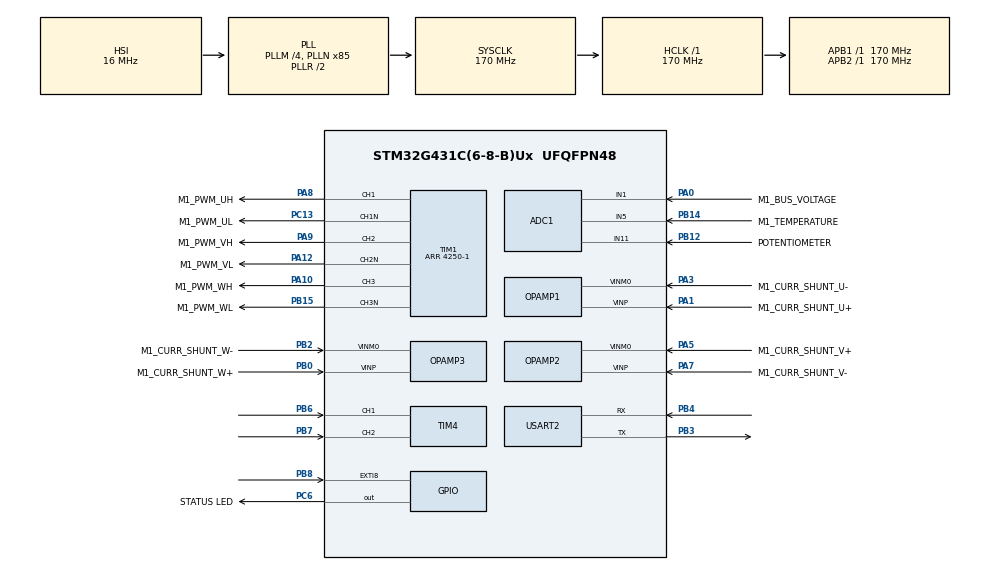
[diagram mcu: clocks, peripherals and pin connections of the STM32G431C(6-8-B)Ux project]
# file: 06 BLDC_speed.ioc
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ADC1.Channel-0\#ChannelRegularConversion=ADC_CHANNEL_1
ADC1.Channel-1\#ChannelRegularConversion=ADC_CHANNEL_5
ADC1.Channel-2\#ChannelRegularConversion=ADC_CHANNEL_VOPAMP1
ADC1.Channel-3\#ChannelRegularConversion=ADC_CHANNEL_11
ADC1.DMAContinuousRequests=ENABLE
ADC1.EOCSelection=ADC_EOC_SEQ_CONV
ADC1.ExternalTrigConv=ADC_EXTERNALTRIG_T1_TRGO2
ADC1.NbrOfConversion=4
ADC1.NbrOfConversionFlag=1
ADC1.OffsetNumber-0\#ChannelRegularConversion=ADC_OFFSET_NONE
ADC1.OffsetNumber-1\#ChannelRegularConversion=ADC_OFFSET_NONE
ADC1.OffsetNumber-2\#ChannelRegularConversion=ADC_OFFSET_NONE
ADC1.OffsetNumber-3\#ChannelRegularConversion=ADC_OFFSET_NONE
ADC1.Rank-0\#ChannelRegularConversion=1
ADC1.Rank-1\#ChannelRegularConversion=2
ADC1.Rank-2\#ChannelRegularConversion=3
ADC1.Rank-3\#ChannelRegularConversion=4
ADC1.SamplingTime-0\#ChannelRegularConversion=ADC_SAMPLETIME_47CYCLES_5
ADC1.SamplingTime-1\#ChannelRegularConversion=ADC_SAMPLETIME_47CYCLES_5
ADC1.SamplingTime-2\#ChannelRegularConversion=ADC_SAMPLETIME_12CYCLES_5
ADC1.SamplingTime-3\#ChannelRegularConversion=ADC_SAMPLETIME_47CYCLES_5
ADC1.master=1
ADC2.Channel-0\#ChannelRegularConversion=ADC_CHANNEL_VOPAMP2
ADC2.Channel-1\#ChannelRegularConversion=ADC_CHANNEL_VOPAMP3_ADC2
ADC2.DMAContinuousRequests=ENABLE
ADC2.EOCSelection=ADC_EOC_SEQ_CONV
ADC2.EnableAnalogWatchDog3=false
ADC2.ExternalTrigConv=ADC_EXTERNALTRIG_T1_TRGO2
ADC2.NbrOfConversion=2
ADC2.NbrOfConversionFlag=1
ADC2.OffsetNumber-0\#ChannelRegularConversion=ADC_OFFSET_NONE
ADC2.OffsetNumber-1\#ChannelRegularConversion=ADC_OFFSET_NONE
ADC2.Rank-0\#ChannelRegularConversion=1
ADC2.Rank-1\#ChannelRegularConversion=2
ADC2.SamplingTime-0\#ChannelRegularConversion=ADC_SAMPLETIME_12CYCLES_5
ADC2.SamplingTime-1\#ChannelRegularConversion=ADC_SAMPLETIME_12CYCLES_5
Dma.ADC1.2.Direction=DMA_PERIPH_TO_MEMORY
Dma.ADC1.2.EventEnable=DISABLE
Dma.ADC1.2.Instance=DMA1_Channel3
Dma.ADC1.2.MemDataAlignment=DMA_MDATAALIGN_HALFWORD
Dma.ADC1.2.MemInc=DMA_MINC_ENABLE
Dma.ADC1.2.Mode=DMA_CIRCULAR
Dma.ADC1.2.PeriphDataAlignment=DMA_PDATAALIGN_HALFWORD
Dma.ADC1.2.PeriphInc=DMA_PINC_DISABLE
Dma.ADC1.2.Polarity=HAL_DMAMUX_REQ_GEN_RISING
Dma.ADC1.2.Priority=DMA_PRIORITY_HIGH
Dma.ADC1.2.RequestNumber=1
Dma.ADC1.2.SignalID=NONE
Dma.ADC1.2.SyncEnable=DISABLE
Dma.ADC1.2.SyncPolarity=HAL_DMAMUX_SYNC_NO_EVENT
Dma.ADC1.2.SyncRequestNumber=1
Dma.ADC1.2.SyncSignalID=NONE
Dma.ADC2.3.Direction=DMA_PERIPH_TO_MEMORY
Dma.ADC2.3.EventEnable=DISABLE
Dma.ADC2.3.Instance=DMA1_Channel4
Dma.ADC2.3.MemDataAlignment=DMA_MDATAALIGN_HALFWORD
Dma.ADC2.3.MemInc=DMA_MINC_ENABLE
Dma.ADC2.3.Mode=DMA_CIRCULAR
Dma.ADC2.3.PeriphDataAlignment=DMA_PDATAALIGN_HALFWORD
Dma.ADC2.3.PeriphInc=DMA_PINC_DISABLE
Dma.ADC2.3.Polarity=HAL_DMAMUX_REQ_GEN_RISING
Dma.ADC2.3.Priority=DMA_PRIORITY_LOW
Dma.ADC2.3.RequestNumber=1
Dma.ADC2.3.SignalID=NONE
Dma.ADC2.3.SyncEnable=DISABLE
Dma.ADC2.3.SyncPolarity=HAL_DMAMUX_SYNC_NO_EVENT
Dma.ADC2.3.SyncRequestNumber=1
Dma.ADC2.3.SyncSignalID=NONE
Dma.Request0=USART2_RX
Dma.Request1=USART2_TX
Dma.Request2=ADC1
Dma.Request3=ADC2
Dma.USART2_RX.0.Direction=DMA_PERIPH_TO_MEMORY
Dma.USART2_RX.0.EventEnable=DISABLE
Dma.USART2_RX.0.Instance=DMA1_Channel1
Dma.USART2_RX.0.MemDataAlignment=DMA_MDATAALIGN_BYTE
Dma.USART2_RX.0.MemInc=DMA_MINC_ENABLE
Dma.USART2_RX.0.Mode=DMA_CIRCULAR
Dma.USART2_RX.0.PeriphDataAlignment=DMA_PDATAALIGN_BYTE
Dma.USART2_RX.0.PeriphInc=DMA_PINC_DISABLE
Dma.USART2_RX.0.Polarity=HAL_DMAMUX_REQ_GEN_RISING
Dma.USART2_RX.0.Priority=DMA_PRIORITY_LOW
Dma.USART2_RX.0.RequestNumber=1
Dma.USART2_RX.0.SignalID=NONE
Dma.USART2_RX.0.SyncEnable=DISABLE
Dma.USART2_RX.0.SyncPolarity=HAL_DMAMUX_SYNC_NO_EVENT
Dma.USART2_RX.0.SyncRequestNumber=1
Dma.USART2_RX.0.SyncSignalID=NONE
Dma.USART2_TX.1.Direction=DMA_MEMORY_TO_PERIPH
Dma.USART2_TX.1.EventEnable=DISABLE
Dma.USART2_TX.1.Instance=DMA1_Channel2
Dma.USART2_TX.1.MemDataAlignment=DMA_MDATAALIGN_BYTE
Dma.USART2_TX.1.MemInc=DMA_MINC_ENABLE
Dma.USART2_TX.1.Mode=DMA_NORMAL
Dma.USART2_TX.1.PeriphDataAlignment=DMA_PDATAALIGN_BYTE
Dma.USART2_TX.1.PeriphInc=DMA_PINC_DISABLE
Dma.USART2_TX.1.Polarity=HAL_DMAMUX_REQ_GEN_RISING
Dma.USART2_TX.1.Priority=DMA_PRIORITY_LOW
Dma.USART2_TX.1.RequestNumber=1
Dma.USART2_TX.1.SignalID=NONE
Dma.USART2_TX.1.SyncEnable=DISABLE
Dma.USART2_TX.1.SyncPolarity=HAL_DMAMUX_SYNC_NO_EVENT
Dma.USART2_TX.1.SyncRequestNumber=1
Dma.USART2_TX.1.SyncSignalID=NONE
Mcu.Family=STM32G4
Mcu.Name=STM32G431C(6-8-B)Ux
Mcu.Package=UFQFPN48
NVIC.ADC1_2_IRQn=true\:0\:0\:false\:false\:true\:true\:true\:true
NVIC.DMA1_Channel1_IRQn=true\:0\:0\:false\:false\:true\:false\:true\:true
NVIC.DMA1_Channel2_IRQn=true\:0\:0\:false\:false\:true\:false\:true\:true
NVIC.DMA1_Channel3_IRQn=true\:0\:0\:false\:false\:true\:false\:true\:true
NVIC.DMA1_Channel4_IRQn=true\:0\:0\:false\:false\:true\:false\:true\:true
NVIC.EXTI9_5_IRQn=true\:0\:0\:false\:false\:true\:true\:true\:true
NVIC.PriorityGroup=NVIC_PRIORITYGROUP_4
NVIC.TIM1_UP_TIM16_IRQn=true\:0\:0\:false\:false\:true\:true\:true\:true
NVIC.TIM4_IRQn=true\:0\:0\:false\:false\:true\:true\:true\:true
NVIC.USART2_IRQn=true\:0\:0\:false\:false\:true\:true\:true\:true
OPAMP1.PgaGain=OPAMP_PGA_GAIN_16_OR_MINUS_15
OPAMP2.PgaGain=OPAMP_PGA_GAIN_16_OR_MINUS_15
OPAMP3.PgaGain=OPAMP_PGA_GAIN_16_OR_MINUS_15
PA0.GPIO_Label=M1_BUS_VOLTAGE
PA0.Mode=IN1-Single-Ended
PA0.Signal=ADC1_IN1
PA1.GPIO_Label=M1_CURR_SHUNT_U+
PA1.Mode=PGA Internally connected_IO0_BIAS
PA1.Signal=OPAMP1_VINP
PA10.GPIO_Label=M1_PWM_WH
PA10.Signal=S_TIM1_CH3
PA12.GPIO_Label=M1_PWM_VL
PA12.Mode=PWM Generation2 CH2 CH2N
PA12.Signal=TIM1_CH2N
PA3.GPIO_Label=M1_CURR_SHUNT_U-
PA3.Mode=PGA Internally connected_IO0_BIAS
PA3.Signal=OPAMP1_VINM0
PA5.GPIO_Label=M1_CURR_SHUNT_V+
PA5.Mode=PGA Internally connected_IO0_BIAS
PA5.Signal=OPAMP2_VINM0
PA7.GPIO_Label=M1_CURR_SHUNT_V-
PA7.Mode=PGA Internally connected_IO0_BIAS
PA7.Signal=OPAMP2_VINP
PA8.GPIO_Label=M1_PWM_UH
PA8.Signal=S_TIM1_CH1
PA9.GPIO_Label=M1_PWM_VH
PA9.Signal=S_TIM1_CH2
PB0.GPIO_Label=M1_CURR_SHUNT_W+
PB0.Mode=PGA Internally connected_IO0_BIAS
PB0.Signal=OPAMP3_VINP
PB12.GPIO_Label=POTENTIOMETER
PB12.Mode=IN11-Single-Ended
PB12.Signal=ADC1_IN11
PB14.GPIO_Label=M1_TEMPERATURE
PB14.Mode=IN5-Single-Ended
PB14.Signal=ADC1_IN5
PB15.GPIO_Label=M1_PWM_WL
PB15.Mode=PWM Generation3 CH3 CH3N
PB15.Signal=TIM1_CH3N
PB2.GPIO_Label=M1_CURR_SHUNT_W-
PB2.Mode=PGA Internally connected_IO0_BIAS
PB2.Signal=OPAMP3_VINM0
PB3.Mode=Asynchronous
PB3.Signal=USART2_TX
PB4.Mode=Asynchronous
PB4.Signal=USART2_RX
PB6.Signal=S_TIM4_CH1
PB7.Signal=S_TIM4_CH2
PB8-BOOT0.GPIO_PuPd=GPIO_PULLUP
PB8-BOOT0.Signal=GPXTI8
PC13.GPIO_Label=M1_PWM_UL
PC13.Mode=PWM Generation1 CH1 CH1N
PC13.Signal=TIM1_CH1N
PC6.GPIO_Label=STATUS LED
PC6.Signal=GPIO_Output
PF0-OSC_IN.Mode=HSE-External-Oscillator
PF0-OSC_IN.Signal=RCC_OSC_IN
PF1-OSC_OUT.Mode=HSE-External-Oscillator
PF1-OSC_OUT.Signal=RCC_OSC_OUT
ProjectManager.HeapSize=0x200
ProjectManager.StackSize=0x400
ProjectManager.TargetToolchain=STM32CubeIDE
RCC.ADC12Freq_Value=170000000
RCC.AHBFreq_Value=170000000
RCC.APB1Freq_Value=170000000
RCC.APB1TimFreq_Value=170000000
RCC.APB2Freq_Value=170000000
RCC.APB2TimFreq_Value=170000000
RCC.CortexFreq_Value=170000000
RCC.EXTERNAL_CLOCK_VALUE=12288000
RCC.HCLKFreq_Value=170000000
RCC.HSE_VALUE=8000000
RCC.HSI48_VALUE=48000000
RCC.HSI_VALUE=16000000
RCC.LSE_VALUE=32768
RCC.PLLM=RCC_PLLM_DIV4
RCC.PLLN=85
RCC.SYSCLKFreq_VALUE=170000000
RCC.SYSCLKSource=RCC_SYSCLKSOURCE_PLLCLK
RCC.USBFreq_Value=170000000
RCC.VCOOutputFreq_Value=340000000
SH.S_TIM1_CH1.0=TIM1_CH1,PWM Generation1 CH1 CH1N
SH.S_TIM1_CH2.0=TIM1_CH2,PWM Generation2 CH2 CH2N
SH.S_TIM1_CH3.0=TIM1_CH3,PWM Generation3 CH3 CH3N
SH.S_TIM4_CH1.0=TIM4_CH1,Encoder_Interface
SH.S_TIM4_CH2.0=TIM4_CH2,Encoder_Interface
TIM1.Channel-PWM\ Generation1\ CH1\ CH1N=TIM_CHANNEL_1
TIM1.Channel-PWM\ Generation2\ CH2\ CH2N=TIM_CHANNEL_2
TIM1.Channel-PWM\ Generation3\ CH3\ CH3N=TIM_CHANNEL_3
TIM1.Channel-PWM\ Generation4\ No\ Output=TIM_CHANNEL_4
TIM1.CounterMode=TIM_COUNTERMODE_CENTERALIGNED3
TIM1.DeadTime=100
TIM1.PeriodNoDither=4250-1
TIM1.PulseNoDither_1=(4250-1)*3/4
TIM1.PulseNoDither_2=(4250-1)*2/4
TIM1.PulseNoDither_3=(4250-1)*1/4
TIM1.PulseNoDither_4=(4250-1)*9/10
TIM1.TIM_MasterOutputTrigger=TIM_TRGO_RESET
TIM1.TIM_MasterOutputTrigger2=TIM_TRGO2_OC4REF
TIM4.EncoderMode=TIM_ENCODERMODE_TI12
TIM4.IC1Filter=3
TIM4.SMS_Preload_Activation=ENABLE
USART2.VirtualMode-Asynchronous=VM_ASYNC
VP_ADC1_OPAMP_INTERNAL1.Mode=IN-OPAMP1
VP_ADC2_OPAMP_INTERNAL2.Mode=IN-OPAMP2
VP_ADC2_OPAMP_INTERNAL3.Mode=IN-OPAMP3
VP_CORDIC_VS_CORDIC.Mode=CORDIC_Activate
VP_SYS_VS_DBSignals.Mode=DisableDeadBatterySignals
VP_TIM1_VS_ClockSourceINT.Mode=Internal
VP_TIM1_VS_no_output4.Mode=PWM Generation4 No Output
board=custom

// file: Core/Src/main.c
/* USER CODE BEGIN Header */
/**
  ******************************************************************************
  * @file           : main.c
  * @brief          : Main program body
  ******************************************************************************
  * @attention
  *
  * Copyright (c) 2025 STMicroelectronics.
  * All rights reserved.
  *
  * This software is licensed under terms that can be found in the LICENSE file
  * in the root directory of this software component.
  * If no LICENSE file comes with this software, it is provided AS-IS.
  *
  ******************************************************************************
  */
/* USER CODE END Header */
#include "main.h"

/* USER CODE BEGIN Includes */
#include <stdio.h>

#include "foc.h"
#include "sensor.h"
#include "serial.h"
//#include "uart_dma.h"
/* USER CODE END Includes */

ADC_HandleTypeDef hadc1;
ADC_HandleTypeDef hadc2;
DMA_HandleTypeDef hdma_adc1;
DMA_HandleTypeDef hdma_adc2;

CORDIC_HandleTypeDef hcordic;

OPAMP_HandleTypeDef hopamp1;
OPAMP_HandleTypeDef hopamp2;
OPAMP_HandleTypeDef hopamp3;

TIM_HandleTypeDef htim1;
TIM_HandleTypeDef htim4;

UART_HandleTypeDef huart2;
DMA_HandleTypeDef hdma_usart2_rx;
DMA_HandleTypeDef hdma_usart2_tx;

void SystemClock_Config(void);
static void MX_GPIO_Init(void);
static void MX_DMA_Init(void);
static void MX_USART2_UART_Init(void);
static void MX_TIM1_Init(void);
static void MX_ADC1_Init(void);
static void MX_OPAMP1_Init(void);
static void MX_OPAMP2_Init(void);
static void MX_OPAMP3_Init(void);
static void MX_ADC2_Init(void);
static void MX_TIM4_Init(void);
static void MX_CORDIC_Init(void);

/* USER CODE BEGIN 0 */
// variables for system scheduler
volatile uint32_t ms_counter = 0;
volatile uint32_t tick_1ms = 0;
volatile uint32_t tick_10ms = 0;
volatile uint32_t tick_100ms = 0;
volatile uint32_t tick_1s = 0;

//void HAL_SYSTICK_Callback(void)
void HAL_TIM_PeriodElapsedCallback(TIM_HandleTypeDef *htim)
{
	if (htim->Instance == TIM4)
	{

#if 0
		// Set 1ms tick flag
		tick_1ms = 1;
		ms_counter++;

	// Set 20ms tick flag
		if (ms_counter % 50 == 0) {

			tick_10ms = 1;
		}

		// Set 100ms tick flag
		if (ms_counter % 100 == 0) {

			tick_100ms = 1;
		}

		// Set 1s tick flag
		if (ms_counter % 1000 == 0) {
//			printf("%.3f \r\n", foc.mech_rad);
//			UART_DMA_Printf("%.1fV, %.1f℃, %.3f, %.1f    ", Vbus, tempC, foc.mech_rad, foc.iq_ref);
//			UART_DMA_Printf("%.3fA, %.3fA, %.3fA   \r\n", PhaseU_A, PhaseV_A, PhaseW_A);

			tick_1s = 1;
		}

		// Reset counter after 1 second to avoid overflow
		if (ms_counter >= 1000) {
			ms_counter = 0;
		}
#endif
	}
}
/* USER CODE END 0 */

int main(void)
{

  /* MCU Configuration--------------------------------------------------------*/

  /* Reset of all peripherals, Initializes the Flash interface and the Systick. */
  HAL_Init();

  /* Configure the system clock */
  SystemClock_Config();

  /* Initialize all configured peripherals */
  MX_GPIO_Init();
  MX_DMA_Init();
  MX_USART2_UART_Init();
  MX_TIM1_Init();
  MX_ADC1_Init();
  MX_OPAMP1_Init();
  MX_OPAMP2_Init();
  MX_OPAMP3_Init();
  MX_ADC2_Init();
  MX_TIM4_Init();
  MX_CORDIC_Init();
  /* USER CODE BEGIN 2 */

  /* Control init */
  FOC_Init();			// must be before PWM start. Because starting PWM enables the interrupt (FOC_PWM_ISR) immediately, and that ISR uses foc variables that must already be initialized.
  	  	  	  	  	  // FOC_Init(); is located after HAL_TIM_Base_Start_IT(&htim1);, iq_ref or maybe all paramters in the FOC_Init() are initialized to zero.

  CORDIC_Config();

  /* 🔥 START TIMERS LAST */
  HAL_TIM_PWM_Start(&htim1, TIM_CHANNEL_1);
  HAL_TIMEx_PWMN_Start(&htim1, TIM_CHANNEL_1);
  HAL_TIM_PWM_Start(&htim1, TIM_CHANNEL_2);
  HAL_TIMEx_PWMN_Start(&htim1, TIM_CHANNEL_2);
  HAL_TIM_PWM_Start(&htim1, TIM_CHANNEL_3);
  HAL_TIMEx_PWMN_Start(&htim1, TIM_CHANNEL_3);

  HAL_TIM_Base_Start_IT(&htim1);				// for TIM15, TIM16
  HAL_TIM_Encoder_Start_IT(&htim4, TIM_CHANNEL_ALL);

  // Start everything first (ADC, OPAMP, etc.)
  HAL_OPAMP_Start(&hopamp1);
  HAL_OPAMP_Start(&hopamp2);
  HAL_OPAMP_Start(&hopamp3);

  /* Start ADC */
  HAL_ADC_Start_DMA(&hadc1, (uint32_t *)ADC1_VAL, 4);
  HAL_ADC_Start_DMA(&hadc2, (uint32_t *)ADC2_VAL, 2);

  Calibrate_All_Offsets();

//  AS5600_Init();

  UART_DMA_Init();
  printf("UART ready\n");

  /* USER CODE END 2 */

  /* Infinite loop */
  /* USER CODE BEGIN WHILE */
  while (1)
  {
	// Toggle the PC6 LED pin
//	HAL_GPIO_TogglePin(GPIOC, GPIO_PIN_6);

	// Delay for 1 seconds
//	HAL_Delay(1000);

    /* USER CODE END WHILE */

  }
}

void SystemClock_Config(void)
{
  RCC_OscInitTypeDef RCC_OscInitStruct = {0};
  RCC_ClkInitTypeDef RCC_ClkInitStruct = {0};

  /** Configure the main internal regulator output voltage
  */
  HAL_PWREx_ControlVoltageScaling(PWR_REGULATOR_VOLTAGE_SCALE1_BOOST);

  /** Initializes the RCC Oscillators according to the specified parameters
  * in the RCC_OscInitTypeDef structure.
  */
  RCC_OscInitStruct.OscillatorType = RCC_OSCILLATORTYPE_HSI;
  RCC_OscInitStruct.HSIState = RCC_HSI_ON;
  RCC_OscInitStruct.HSICalibrationValue = RCC_HSICALIBRATION_DEFAULT;
  RCC_OscInitStruct.PLL.PLLState = RCC_PLL_ON;
  RCC_OscInitStruct.PLL.PLLSource = RCC_PLLSOURCE_HSI;
  RCC_OscInitStruct.PLL.PLLM = RCC_PLLM_DIV4;
  RCC_OscInitStruct.PLL.PLLN = 85;
  RCC_OscInitStruct.PLL.PLLP = RCC_PLLP_DIV2;
  RCC_OscInitStruct.PLL.PLLQ = RCC_PLLQ_DIV2;
  RCC_OscInitStruct.PLL.PLLR = RCC_PLLR_DIV2;
  if (HAL_RCC_OscConfig(&RCC_OscInitStruct) != HAL_OK)
  {
    Error_Handler();
  }

  /** Initializes the CPU, AHB and APB buses clocks
  */
  RCC_ClkInitStruct.ClockType = RCC_CLOCKTYPE_HCLK|RCC_CLOCKTYPE_SYSCLK
                              |RCC_CLOCKTYPE_PCLK1|RCC_CLOCKTYPE_PCLK2;
  RCC_ClkInitStruct.SYSCLKSource = RCC_SYSCLKSOURCE_PLLCLK;
  RCC_ClkInitStruct.AHBCLKDivider = RCC_SYSCLK_DIV1;
  RCC_ClkInitStruct.APB1CLKDivider = RCC_HCLK_DIV1;
  RCC_ClkInitStruct.APB2CLKDivider = RCC_HCLK_DIV1;

  if (HAL_RCC_ClockConfig(&RCC_ClkInitStruct, FLASH_LATENCY_4) != HAL_OK)
  {
    Error_Handler();
  }
}

static void MX_ADC1_Init(void)
{

  ADC_MultiModeTypeDef multimode = {0};
  ADC_ChannelConfTypeDef sConfig = {0};

  /** Common config
  */
  hadc1.Instance = ADC1;
  hadc1.Init.ClockPrescaler = ADC_CLOCK_SYNC_PCLK_DIV4;
  hadc1.Init.Resolution = ADC_RESOLUTION_12B;
  hadc1.Init.DataAlign = ADC_DATAALIGN_RIGHT;
  hadc1.Init.GainCompensation = 0;
  hadc1.Init.ScanConvMode = ADC_SCAN_ENABLE;
  hadc1.Init.EOCSelection = ADC_EOC_SEQ_CONV;
  hadc1.Init.LowPowerAutoWait = DISABLE;
  hadc1.Init.ContinuousConvMode = DISABLE;
  hadc1.Init.NbrOfConversion = 4;
  hadc1.Init.DiscontinuousConvMode = DISABLE;
  hadc1.Init.ExternalTrigConv = ADC_EXTERNALTRIG_T1_TRGO2;
  hadc1.Init.ExternalTrigConvEdge = ADC_EXTERNALTRIGCONVEDGE_RISING;
  hadc1.Init.DMAContinuousRequests = ENABLE;
  hadc1.Init.Overrun = ADC_OVR_DATA_PRESERVED;
  hadc1.Init.OversamplingMode = DISABLE;
  if (HAL_ADC_Init(&hadc1) != HAL_OK)
  {
    Error_Handler();
  }

  /** Configure the ADC multi-mode
  */
  multimode.Mode = ADC_MODE_INDEPENDENT;
  if (HAL_ADCEx_MultiModeConfigChannel(&hadc1, &multimode) != HAL_OK)
  {
    Error_Handler();
  }

  /** Configure Regular Channel
  */
  sConfig.Channel = ADC_CHANNEL_1;
  sConfig.Rank = ADC_REGULAR_RANK_1;
  sConfig.SamplingTime = ADC_SAMPLETIME_47CYCLES_5;
  sConfig.SingleDiff = ADC_SINGLE_ENDED;
  sConfig.OffsetNumber = ADC_OFFSET_NONE;
  sConfig.Offset = 0;
  if (HAL_ADC_ConfigChannel(&hadc1, &sConfig) != HAL_OK)
  {
    Error_Handler();
  }

  /** Configure Regular Channel
  */
  sConfig.Channel = ADC_CHANNEL_5;
  sConfig.Rank = ADC_REGULAR_RANK_2;
  if (HAL_ADC_ConfigChannel(&hadc1, &sConfig) != HAL_OK)
  {
    Error_Handler();
  }

  /** Configure Regular Channel
  */
  sConfig.Channel = ADC_CHANNEL_VOPAMP1;
  sConfig.Rank = ADC_REGULAR_RANK_3;
  sConfig.SamplingTime = ADC_SAMPLETIME_12CYCLES_5;
  if (HAL_ADC_ConfigChannel(&hadc1, &sConfig) != HAL_OK)
  {
    Error_Handler();
  }

  /** Configure Regular Channel
  */
  sConfig.Channel = ADC_CHANNEL_11;
  sConfig.Rank = ADC_REGULAR_RANK_4;
  sConfig.SamplingTime = ADC_SAMPLETIME_47CYCLES_5;
  if (HAL_ADC_ConfigChannel(&hadc1, &sConfig) != HAL_OK)
  {
    Error_Handler();
  }

}

static void MX_ADC2_Init(void)
{

  ADC_ChannelConfTypeDef sConfig = {0};

  /** Common config
  */
  hadc2.Instance = ADC2;
  hadc2.Init.ClockPrescaler = ADC_CLOCK_SYNC_PCLK_DIV4;
  hadc2.Init.Resolution = ADC_RESOLUTION_12B;
  hadc2.Init.DataAlign = ADC_DATAALIGN_RIGHT;
  hadc2.Init.GainCompensation = 0;
  hadc2.Init.ScanConvMode = ADC_SCAN_ENABLE;
  hadc2.Init.EOCSelection = ADC_EOC_SEQ_CONV;
  hadc2.Init.LowPowerAutoWait = DISABLE;
  hadc2.Init.ContinuousConvMode = DISABLE;
  hadc2.Init.NbrOfConversion = 2;
  hadc2.Init.DiscontinuousConvMode = DISABLE;
  hadc2.Init.ExternalTrigConv = ADC_EXTERNALTRIG_T1_TRGO2;
  hadc2.Init.ExternalTrigConvEdge = ADC_EXTERNALTRIGCONVEDGE_RISING;
  hadc2.Init.DMAContinuousRequests = ENABLE;
  hadc2.Init.Overrun = ADC_OVR_DATA_PRESERVED;
  hadc2.Init.OversamplingMode = DISABLE;
  if (HAL_ADC_Init(&hadc2) != HAL_OK)
  {
    Error_Handler();
  }

  /** Configure Regular Channel
  */
  sConfig.Channel = ADC_CHANNEL_VOPAMP2;
  sConfig.Rank = ADC_REGULAR_RANK_1;
  sConfig.SamplingTime = ADC_SAMPLETIME_12CYCLES_5;
  sConfig.SingleDiff = ADC_SINGLE_ENDED;
  sConfig.OffsetNumber = ADC_OFFSET_NONE;
  sConfig.Offset = 0;
  if (HAL_ADC_ConfigChannel(&hadc2, &sConfig) != HAL_OK)
  {
    Error_Handler();
  }

  /** Configure Regular Channel
  */
  sConfig.Channel = ADC_CHANNEL_VOPAMP3_ADC2;
  sConfig.Rank = ADC_REGULAR_RANK_2;
  if (HAL_ADC_ConfigChannel(&hadc2, &sConfig) != HAL_OK)
  {
    Error_Handler();
  }

}

static void MX_CORDIC_Init(void)
{

  hcordic.Instance = CORDIC;
  if (HAL_CORDIC_Init(&hcordic) != HAL_OK)
  {
    Error_Handler();
  }

}

static void MX_OPAMP1_Init(void)
{

  hopamp1.Instance = OPAMP1;
  hopamp1.Init.PowerMode = OPAMP_POWERMODE_NORMALSPEED;
  hopamp1.Init.Mode = OPAMP_PGA_MODE;
  hopamp1.Init.NonInvertingInput = OPAMP_NONINVERTINGINPUT_IO0;
  hopamp1.Init.InternalOutput = ENABLE;
  hopamp1.Init.TimerControlledMuxmode = OPAMP_TIMERCONTROLLEDMUXMODE_DISABLE;
  hopamp1.Init.PgaConnect = OPAMP_PGA_CONNECT_INVERTINGINPUT_IO0_BIAS;
  hopamp1.Init.PgaGain = OPAMP_PGA_GAIN_16_OR_MINUS_15;
  hopamp1.Init.UserTrimming = OPAMP_TRIMMING_FACTORY;
  if (HAL_OPAMP_Init(&hopamp1) != HAL_OK)
  {
    Error_Handler();
  }

}

static void MX_OPAMP2_Init(void)
{

  hopamp2.Instance = OPAMP2;
  hopamp2.Init.PowerMode = OPAMP_POWERMODE_NORMALSPEED;
  hopamp2.Init.Mode = OPAMP_PGA_MODE;
  hopamp2.Init.NonInvertingInput = OPAMP_NONINVERTINGINPUT_IO0;
  hopamp2.Init.InternalOutput = ENABLE;
  hopamp2.Init.TimerControlledMuxmode = OPAMP_TIMERCONTROLLEDMUXMODE_DISABLE;
  hopamp2.Init.PgaConnect = OPAMP_PGA_CONNECT_INVERTINGINPUT_IO0_BIAS;
  hopamp2.Init.PgaGain = OPAMP_PGA_GAIN_16_OR_MINUS_15;
  hopamp2.Init.UserTrimming = OPAMP_TRIMMING_FACTORY;
  if (HAL_OPAMP_Init(&hopamp2) != HAL_OK)
  {
    Error_Handler();
  }

}

static void MX_OPAMP3_Init(void)
{

  hopamp3.Instance = OPAMP3;
  hopamp3.Init.PowerMode = OPAMP_POWERMODE_NORMALSPEED;
  hopamp3.Init.Mode = OPAMP_PGA_MODE;
  hopamp3.Init.NonInvertingInput = OPAMP_NONINVERTINGINPUT_IO0;
  hopamp3.Init.InternalOutput = ENABLE;
  hopamp3.Init.TimerControlledMuxmode = OPAMP_TIMERCONTROLLEDMUXMODE_DISABLE;
  hopamp3.Init.PgaConnect = OPAMP_PGA_CONNECT_INVERTINGINPUT_IO0_BIAS;
  hopamp3.Init.PgaGain = OPAMP_PGA_GAIN_16_OR_MINUS_15;
  hopamp3.Init.UserTrimming = OPAMP_TRIMMING_FACTORY;
  if (HAL_OPAMP_Init(&hopamp3) != HAL_OK)
  {
    Error_Handler();
  }

}

static void MX_TIM1_Init(void)
{

  TIM_ClockConfigTypeDef sClockSourceConfig = {0};
  TIM_MasterConfigTypeDef sMasterConfig = {0};
  TIM_OC_InitTypeDef sConfigOC = {0};
  TIM_BreakDeadTimeConfigTypeDef sBreakDeadTimeConfig = {0};

  htim1.Instance = TIM1;
  htim1.Init.Prescaler = 0;
  htim1.Init.CounterMode = TIM_COUNTERMODE_CENTERALIGNED3;
  htim1.Init.Period = 4249;
  htim1.Init.ClockDivision = TIM_CLOCKDIVISION_DIV1;
  htim1.Init.RepetitionCounter = 0;
  htim1.Init.AutoReloadPreload = TIM_AUTORELOAD_PRELOAD_DISABLE;
  if (HAL_TIM_Base_Init(&htim1) != HAL_OK)
  {
    Error_Handler();
  }
  sClockSourceConfig.ClockSource = TIM_CLOCKSOURCE_INTERNAL;
  if (HAL_TIM_ConfigClockSource(&htim1, &sClockSourceConfig) != HAL_OK)
  {
    Error_Handler();
  }
  if (HAL_TIM_PWM_Init(&htim1) != HAL_OK)
  {
    Error_Handler();
  }
  sMasterConfig.MasterOutputTrigger = TIM_TRGO_RESET;
  sMasterConfig.MasterOutputTrigger2 = TIM_TRGO2_OC4REF;
  sMasterConfig.MasterSlaveMode = TIM_MASTERSLAVEMODE_DISABLE;
  if (HAL_TIMEx_MasterConfigSynchronization(&htim1, &sMasterConfig) != HAL_OK)
  {
    Error_Handler();
  }
  sConfigOC.OCMode = TIM_OCMODE_PWM1;
  sConfigOC.Pulse = 3186;
  sConfigOC.OCPolarity = TIM_OCPOLARITY_HIGH;
  sConfigOC.OCNPolarity = TIM_OCNPOLARITY_HIGH;
  sConfigOC.OCFastMode = TIM_OCFAST_DISABLE;
  sConfigOC.OCIdleState = TIM_OCIDLESTATE_RESET;
  sConfigOC.OCNIdleState = TIM_OCNIDLESTATE_RESET;
  if (HAL_TIM_PWM_ConfigChannel(&htim1, &sConfigOC, TIM_CHANNEL_1) != HAL_OK)
  {
    Error_Handler();
  }
  sConfigOC.Pulse = 2124;
  if (HAL_TIM_PWM_ConfigChannel(&htim1, &sConfigOC, TIM_CHANNEL_2) != HAL_OK)
  {
    Error_Handler();
  }
  sConfigOC.Pulse = 1062;
  if (HAL_TIM_PWM_ConfigChannel(&htim1, &sConfigOC, TIM_CHANNEL_3) != HAL_OK)
  {
    Error_Handler();
  }
  sConfigOC.Pulse = 3824;
  if (HAL_TIM_PWM_ConfigChannel(&htim1, &sConfigOC, TIM_CHANNEL_4) != HAL_OK)
  {
    Error_Handler();
  }
  sBreakDeadTimeConfig.OffStateRunMode = TIM_OSSR_DISABLE;
  sBreakDeadTimeConfig.OffStateIDLEMode = TIM_OSSI_DISABLE;
  sBreakDeadTimeConfig.LockLevel = TIM_LOCKLEVEL_OFF;
  sBreakDeadTimeConfig.DeadTime = 100;
  sBreakDeadTimeConfig.BreakState = TIM_BREAK_DISABLE;
  sBreakDeadTimeConfig.BreakPolarity = TIM_BREAKPOLARITY_HIGH;
  sBreakDeadTimeConfig.BreakFilter = 0;
  sBreakDeadTimeConfig.BreakAFMode = TIM_BREAK_AFMODE_INPUT;
  sBreakDeadTimeConfig.Break2State = TIM_BREAK2_DISABLE;
  sBreakDeadTimeConfig.Break2Polarity = TIM_BREAK2POLARITY_HIGH;
  sBreakDeadTimeConfig.Break2Filter = 0;
  sBreakDeadTimeConfig.Break2AFMode = TIM_BREAK_AFMODE_INPUT;
  sBreakDeadTimeConfig.AutomaticOutput = TIM_AUTOMATICOUTPUT_DISABLE;
  if (HAL_TIMEx_ConfigBreakDeadTime(&htim1, &sBreakDeadTimeConfig) != HAL_OK)
  {
    Error_Handler();
  }
  HAL_TIM_MspPostInit(&htim1);

}

static void MX_TIM4_Init(void)
{

  TIM_Encoder_InitTypeDef sConfig = {0};
  TIM_MasterConfigTypeDef sMasterConfig = {0};

  htim4.Instance = TIM4;
  htim4.Init.Prescaler = 0;
  htim4.Init.CounterMode = TIM_COUNTERMODE_UP;
  htim4.Init.Period = 65535;
  htim4.Init.ClockDivision = TIM_CLOCKDIVISION_DIV1;
  htim4.Init.AutoReloadPreload = TIM_AUTORELOAD_PRELOAD_DISABLE;
  sConfig.EncoderMode = TIM_ENCODERMODE_TI12;
  sConfig.IC1Polarity = TIM_ICPOLARITY_RISING;
  sConfig.IC1Selection = TIM_ICSELECTION_DIRECTTI;
  sConfig.IC1Prescaler = TIM_ICPSC_DIV1;
  sConfig.IC1Filter = 3;
  sConfig.IC2Polarity = TIM_ICPOLARITY_RISING;
  sConfig.IC2Selection = TIM_ICSELECTION_DIRECTTI;
  sConfig.IC2Prescaler = TIM_ICPSC_DIV1;
  sConfig.IC2Filter = 0;
  if (HAL_TIM_Encoder_Init(&htim4, &sConfig) != HAL_OK)
  {
    Error_Handler();
  }
  HAL_TIMEx_EnableSlaveModePreload(&htim4);
  sMasterConfig.MasterOutputTrigger = TIM_TRGO_RESET;
  sMasterConfig.MasterSlaveMode = TIM_MASTERSLAVEMODE_DISABLE;
  if (HAL_TIMEx_MasterConfigSynchronization(&htim4, &sMasterConfig) != HAL_OK)
  {
    Error_Handler();
  }

}

static void MX_USART2_UART_Init(void)
{

  huart2.Instance = USART2;
  huart2.Init.BaudRate = 115200;
  huart2.Init.WordLength = UART_WORDLENGTH_8B;
  huart2.Init.StopBits = UART_STOPBITS_1;
  huart2.Init.Parity = UART_PARITY_NONE;
  huart2.Init.Mode = UART_MODE_TX_RX;
  huart2.Init.HwFlowCtl = UART_HWCONTROL_NONE;
  huart2.Init.OverSampling = UART_OVERSAMPLING_16;
  huart2.Init.OneBitSampling = UART_ONE_BIT_SAMPLE_DISABLE;
  huart2.Init.ClockPrescaler = UART_PRESCALER_DIV1;
  huart2.AdvancedInit.AdvFeatureInit = UART_ADVFEATURE_NO_INIT;
  if (HAL_UART_Init(&huart2) != HAL_OK)
  {
    Error_Handler();
  }
  if (HAL_UARTEx_SetTxFifoThreshold(&huart2, UART_TXFIFO_THRESHOLD_1_8) != HAL_OK)
  {
    Error_Handler();
  }
  if (HAL_UARTEx_SetRxFifoThreshold(&huart2, UART_RXFIFO_THRESHOLD_1_8) != HAL_OK)
  {
    Error_Handler();
  }
  if (HAL_UARTEx_DisableFifoMode(&huart2) != HAL_OK)
  {
    Error_Handler();
  }

}

static void MX_DMA_Init(void)
{

  /* DMA controller clock enable */
  __HAL_RCC_DMAMUX1_CLK_ENABLE();
  __HAL_RCC_DMA1_CLK_ENABLE();

  /* DMA interrupt init */
  /* DMA1_Channel1_IRQn interrupt configuration */
  HAL_NVIC_SetPriority(DMA1_Channel1_IRQn, 0, 0);
  HAL_NVIC_EnableIRQ(DMA1_Channel1_IRQn);
  /* DMA1_Channel2_IRQn interrupt configuration */
  HAL_NVIC_SetPriority(DMA1_Channel2_IRQn, 0, 0);
  HAL_NVIC_EnableIRQ(DMA1_Channel2_IRQn);
  /* DMA1_Channel3_IRQn interrupt configuration */
  HAL_NVIC_SetPriority(DMA1_Channel3_IRQn, 0, 0);
  HAL_NVIC_EnableIRQ(DMA1_Channel3_IRQn);
  /* DMA1_Channel4_IRQn interrupt configuration */
  HAL_NVIC_SetPriority(DMA1_Channel4_IRQn, 0, 0);
  HAL_NVIC_EnableIRQ(DMA1_Channel4_IRQn);

}

static void MX_GPIO_Init(void)
{
  GPIO_InitTypeDef GPIO_InitStruct = {0};

  /* GPIO Ports Clock Enable */
  __HAL_RCC_GPIOC_CLK_ENABLE();
  __HAL_RCC_GPIOF_CLK_ENABLE();
  __HAL_RCC_GPIOA_CLK_ENABLE();
  __HAL_RCC_GPIOB_CLK_ENABLE();

  /*Configure GPIO pin Output Level */
  HAL_GPIO_WritePin(STATUS_LED_GPIO_Port, STATUS_LED_Pin, GPIO_PIN_RESET);

  /*Configure GPIO pin : STATUS_LED_Pin */
  GPIO_InitStruct.Pin = STATUS_LED_Pin;
  GPIO_InitStruct.Mode = GPIO_MODE_OUTPUT_PP;
  GPIO_InitStruct.Pull = GPIO_NOPULL;
  GPIO_InitStruct.Speed = GPIO_SPEED_FREQ_LOW;
  HAL_GPIO_Init(STATUS_LED_GPIO_Port, &GPIO_InitStruct);

  /*Configure GPIO pin : PB8 */
  GPIO_InitStruct.Pin = GPIO_PIN_8;
  GPIO_InitStruct.Mode = GPIO_MODE_IT_RISING;
  GPIO_InitStruct.Pull = GPIO_PULLUP;
  HAL_GPIO_Init(GPIOB, &GPIO_InitStruct);

  /* EXTI interrupt init*/
  HAL_NVIC_SetPriority(EXTI9_5_IRQn, 0, 0);
  HAL_NVIC_EnableIRQ(EXTI9_5_IRQn);

}

void Error_Handler(void)
{
  __disable_irq();
  while (1)
  {
  }
}
